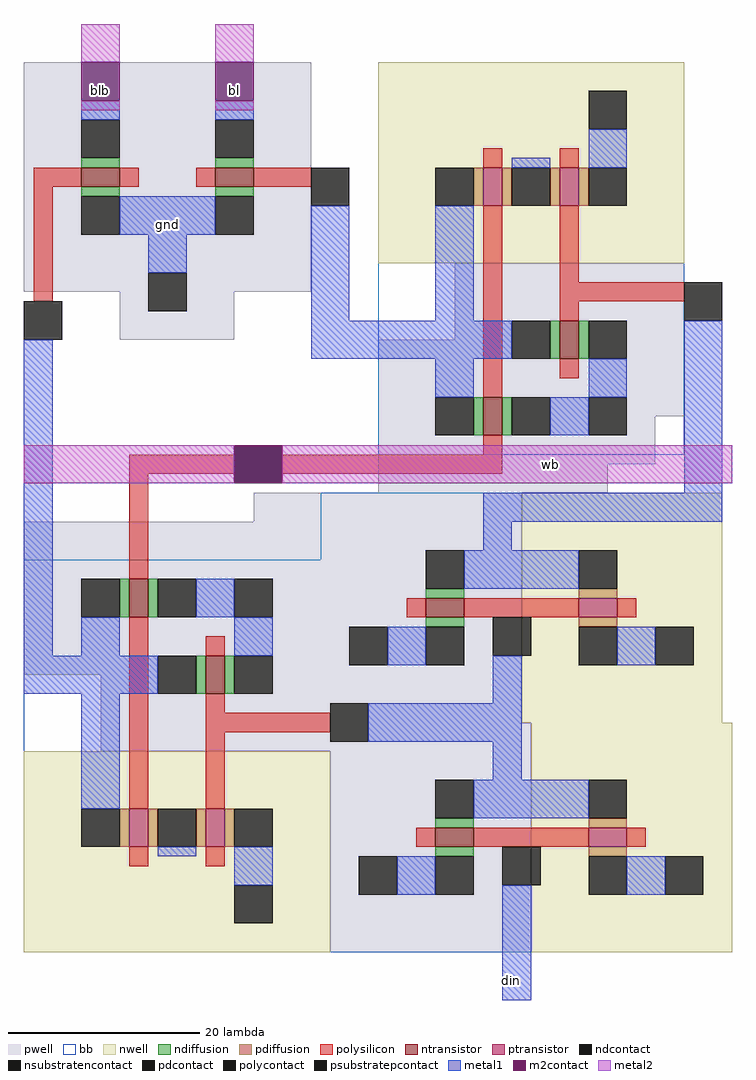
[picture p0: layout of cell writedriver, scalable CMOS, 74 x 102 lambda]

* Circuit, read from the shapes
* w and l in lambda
.subckt writedriver bl blb din gnd vdd! wb
M1 blb nor_1/out gnd gnd nfet w=4 l=2
M2 gnd wb nor_1/out gnd nfet w=4 l=2
M3 gnd inv_0/in nor_1/out gnd nfet w=4 l=2
M4 bl nor_0/out gnd gnd nfet w=4 l=2
M5 nor_0/in2 inv_0/in gnd gnd nfet w=4 l=2
M6 inv_0/in din gnd gnd nfet w=4 l=2
M7 gnd wb nor_0/out gnd nfet w=4 l=2
M8 gnd nor_0/in2 nor_0/out gnd nfet w=4 l=2
M9 nor_1/temp wb nor_1/out vdd! pfet w=4 l=2
M10 vdd! inv_0/in nor_1/temp vdd! pfet w=4 l=2
M11 nor_0/temp wb nor_0/out vdd! pfet w=4 l=2
M12 vdd! nor_0/in2 nor_0/temp vdd! pfet w=4 l=2
M13 nor_0/in2 inv_0/in vdd! vdd! pfet w=4 l=2
M14 inv_0/in din vdd! vdd! pfet w=4 l=2
.ends

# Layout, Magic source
magic
tech scmos
<< pwell >>
rect -36 52 -6 76
rect -26 47 -14 52
rect -12 25 -1 31
rect -7 20 -1 25
<< ntransistor >>
rect -30 63 -26 65
rect -16 63 -12 65
<< ndiffusion >>
rect -30 65 -26 66
rect -16 65 -12 66
rect -30 62 -26 63
rect -16 62 -12 63
<< ndcontact >>
rect -30 66 -26 70
rect -16 66 -12 70
rect -30 58 -26 62
rect -16 58 -12 62
<< psubstratepcontact >>
rect -23 50 -19 54
<< polysilicon >>
rect -35 63 -30 65
rect -26 63 -24 65
rect -18 63 -16 65
rect -12 63 -6 65
rect -35 51 -33 63
rect -25 33 -14 35
rect -25 24 -23 33
rect -9 33 14 35
<< polycontact >>
rect -6 61 -2 65
rect -36 47 -32 51
rect 33 49 37 53
rect -14 32 -9 36
rect -4 5 0 9
<< metal1 >>
rect -30 70 -26 72
rect -16 70 -12 72
rect -26 58 -16 62
rect -23 54 -19 58
rect -6 49 -2 61
rect -36 10 -33 47
rect -6 45 1 49
rect 33 31 37 49
rect 12 28 37 31
rect 0 5 16 9
rect 14 -22 17 -17
<< m2contact >>
rect -30 72 -26 76
rect -16 72 -12 76
rect -14 32 -9 36
<< metal2 >>
rect -30 76 -26 80
rect -30 71 -26 72
rect -16 76 -12 80
rect -16 71 -12 72
rect -36 32 -14 36
rect -9 32 38 36
use nor  nor_0
transform -1 0 20 0 1 61
box -13 -30 19 15
use inv  inv_0
transform 0 1 19 1 0 16
box -9 -24 15 18
use nor  nor_1
transform -1 0 -17 0 -1 -2
box -13 -30 19 15
use inv  inv_1
transform 0 1 20 1 0 -8
box -9 -24 15 18
<< labels >>
rlabel m2contact -14 73 -14 73 4 bl
rlabel metal1 -21 59 -21 59 4 gnd
rlabel metal1 15 -20 15 -20 4 din
rlabel metal2 19 34 19 34 1 wb
rlabel m2contact -28 73 -28 73 1 blb
<< end >>

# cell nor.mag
magic
tech scmos
<< nwell >>
rect -13 -6 19 15
<< pwell >>
rect -13 -14 11 -6
rect -13 -22 19 -14
rect -10 -27 19 -22
rect -5 -30 19 -27
<< ntransistor >>
rect -2 -16 0 -12
rect 6 -24 8 -20
<< ptransistor >>
rect -2 0 0 4
rect 6 0 8 4
<< ndiffusion >>
rect -3 -16 -2 -12
rect 0 -16 1 -12
rect 5 -24 6 -20
rect 8 -24 9 -20
<< pdiffusion >>
rect -3 0 -2 4
rect 0 0 1 4
rect 5 0 6 4
rect 8 0 9 4
<< ndcontact >>
rect -7 -16 -3 -12
rect 1 -16 5 -12
rect 1 -24 5 -20
rect 9 -24 13 -20
<< pdcontact >>
rect -7 0 -3 4
rect 1 0 5 4
rect 9 0 13 4
<< psubstratepcontact >>
rect -7 -24 -3 -20
<< nsubstratencontact >>
rect -7 8 -3 12
<< polysilicon >>
rect -2 4 0 6
rect 6 4 8 6
rect -2 -8 0 0
rect -13 -10 0 -8
rect -2 -12 0 -10
rect -2 -18 0 -16
rect 6 -20 8 0
rect 6 -26 8 -24
<< metal1 >>
rect -7 4 -3 8
rect 1 4 5 5
rect 9 -12 13 0
rect 5 -16 19 -12
rect -7 -20 -3 -16
rect 9 -20 13 -16
rect -3 -24 1 -20
<< bb >>
rect -13 -26 19 15
<< labels >>
rlabel polysilicon -1 -9 -1 -9 4 in2
rlabel polysilicon 7 -9 7 -9 4 in1
rlabel metal1 16 -14 16 -14 4 out
rlabel pdcontact 3 2 3 2 4 temp
rlabel metal1 -5 6 -5 6 1 vdd!
rlabel metal1 -1 -22 -1 -22 1 gnd!
<< end >>

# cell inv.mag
magic
tech scmos
<< nwell >>
rect -9 -3 15 18
<< pwell >>
rect -9 -24 15 -3
<< ntransistor >>
rect 2 -13 4 -9
<< ptransistor >>
rect 2 3 4 7
<< ndiffusion >>
rect 1 -13 2 -9
rect 4 -13 5 -9
<< pdiffusion >>
rect 1 3 2 7
rect 4 3 5 7
<< ndcontact >>
rect -3 -13 1 -9
rect 5 -13 9 -9
<< pdcontact >>
rect -3 3 1 7
rect 5 3 9 7
<< psubstratepcontact >>
rect -3 -21 1 -17
<< nsubstratencontact >>
rect -3 11 1 15
<< polysilicon >>
rect 2 7 4 9
rect 2 -9 4 3
rect 2 -15 4 -13
<< polycontact >>
rect -2 -6 2 -2
<< metal1 >>
rect -3 7 1 11
rect -9 -6 -2 -3
rect 5 -4 9 3
rect 5 -7 15 -4
rect 5 -9 9 -7
rect -3 -17 1 -13
<< bb >>
rect -9 -24 15 18
<< labels >>
rlabel metal1 12 -5 12 -5 4 out
rlabel metal1 -6 -4 -6 -4 4 in
rlabel metal1 -1 9 -1 9 1 vdd!
rlabel metal1 -1 -15 -1 -15 1 gnd!
<< end >>
